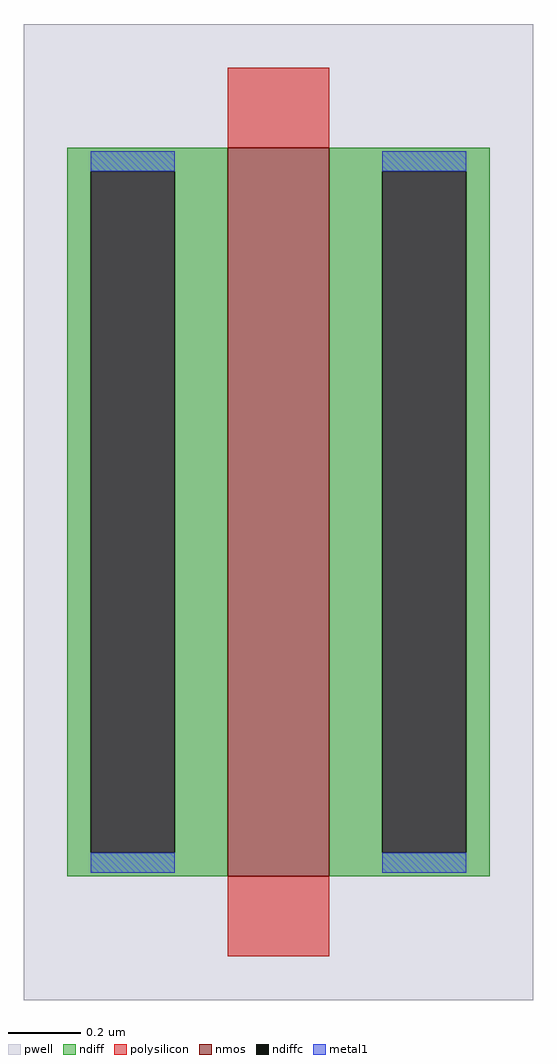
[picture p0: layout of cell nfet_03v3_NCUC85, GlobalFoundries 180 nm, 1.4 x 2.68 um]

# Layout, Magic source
magic
tech gf180mcuD
magscale 1 10
<< pwell >>
rect -140 -268 140 268
<< nmos >>
rect -28 -200 28 200
<< ndiff >>
rect -116 187 -28 200
rect -116 -187 -103 187
rect -57 -187 -28 187
rect -116 -200 -28 -187
rect 28 187 116 200
rect 28 -187 57 187
rect 103 -187 116 187
rect 28 -200 116 -187
<< ndiffc >>
rect -103 -187 -57 187
rect 57 -187 103 187
<< polysilicon >>
rect -28 200 28 244
rect -28 -244 28 -200
<< metal1 >>
rect -103 187 -57 198
rect -103 -198 -57 -187
rect 57 187 103 198
rect 57 -198 103 -187
<< properties >>
string gencell nfet_03v3
string library gf180mcu
string parameters w 2 l 0.280 m 1 nf 1 diffcov 100 polycov 100 guard 0 glc 0 grc 0 gtc 0 gbc 0 tbcov 100 rlcov 100 topc 0 botc 0 poverlap 0 doverlap 1 lmin 0.28 wmin 0.22 class mosfet full_metal 0 compatible {nfet_03v3 nfet_06v0 nfet_06v0_nvt}
<< end >>
